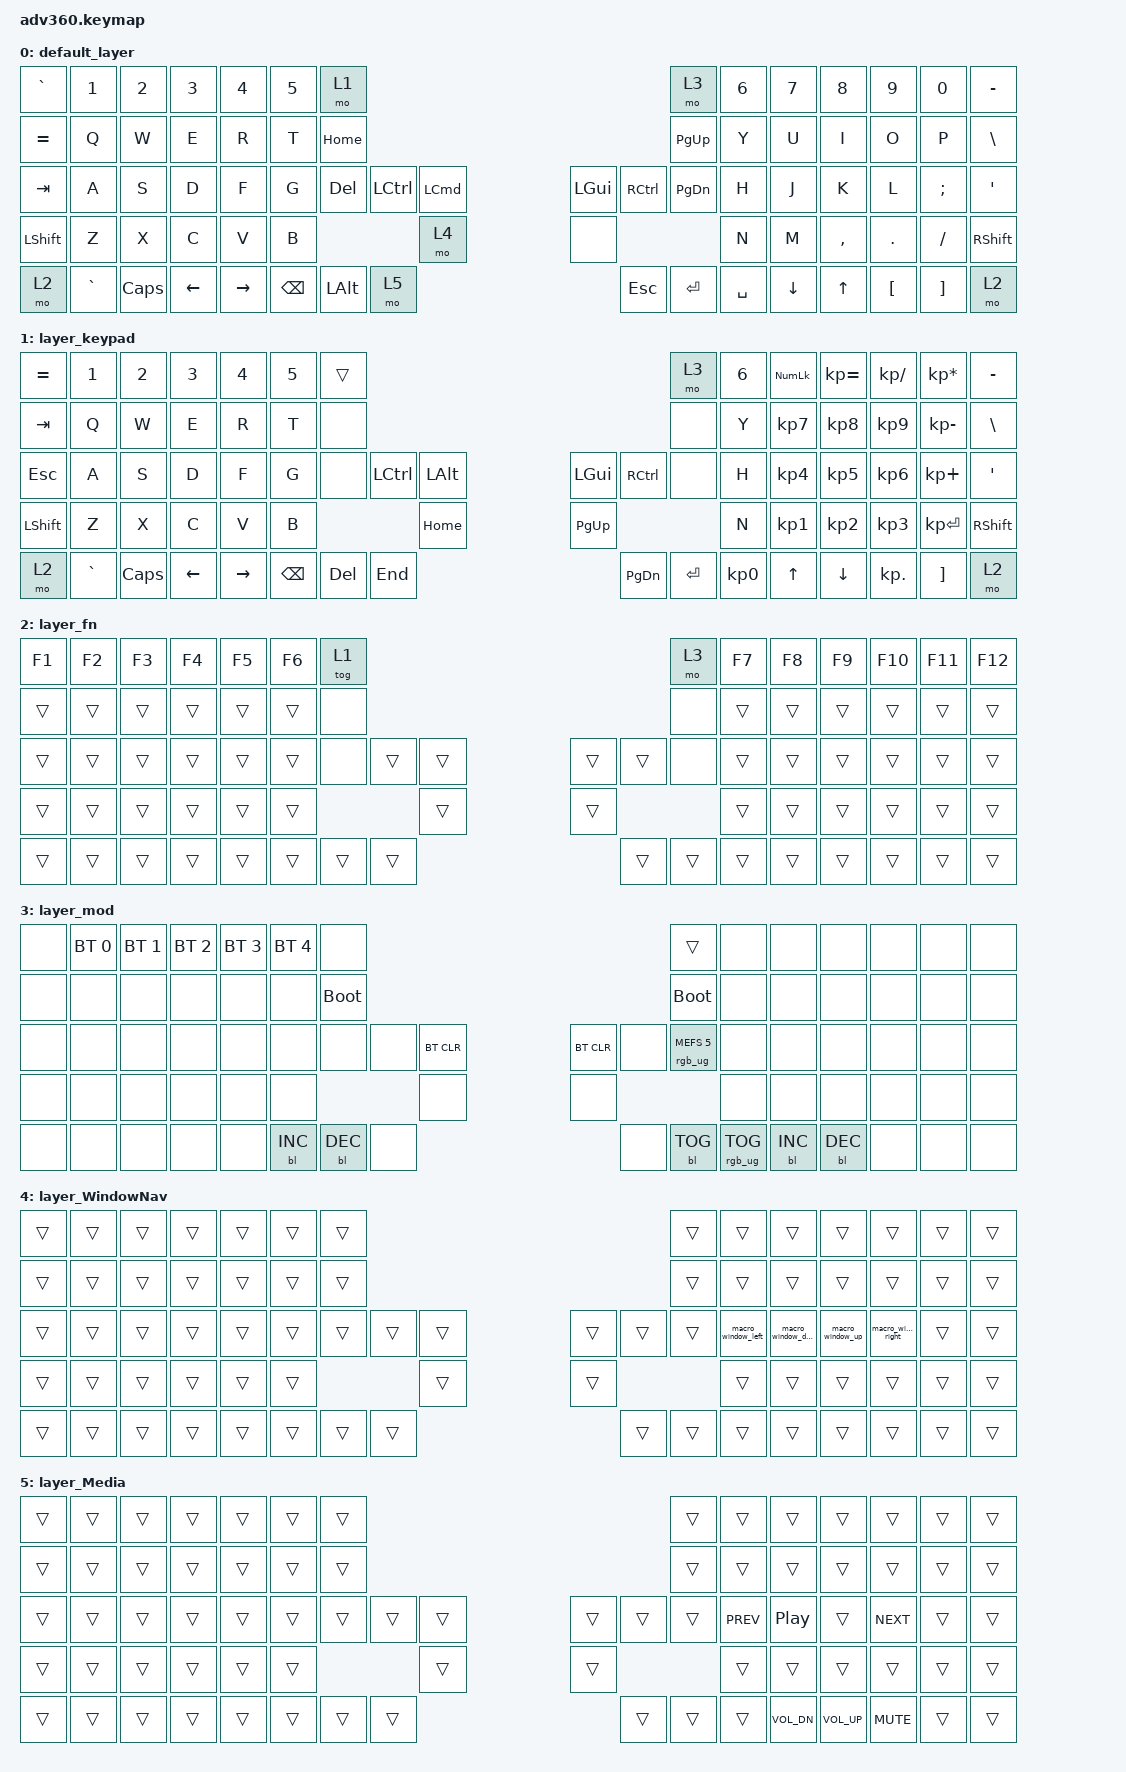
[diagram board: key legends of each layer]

/*
 * Copyright (c) 2020 The ZMK Contributors
 *
 * SPDX-License-Identifier: MIT
 */


/* THIS FILE WAS GENERATED!
 *
 * This file was generated automatically. You may or may not want to
 * edit it directly.
 */

#include <behaviors.dtsi>
#include <dt-bindings/zmk/keys.h>
#include <dt-bindings/zmk/bt.h>
#include <dt-bindings/zmk/rgb.h>
#include <dt-bindings/zmk/backlight.h>

/ {
  behaviors {
    #include "macros.dtsi"
    #include "version.dtsi"

    hm: homerow_mods {
        compatible = "zmk,behavior-hold-tap";
        label = "HOMEROW_MODS";
        #binding-cells = <2>;
        tapping-term-ms = <200>;
        quick_tap_ms = <175>;
        flavor = "tap-preferred";
        bindings = <&kp>, <&kp>;
    };
  };

    keymap {
        compatible = "zmk,keymap";


        default_layer {
            bindings = <
 &kp GRAVE     &kp N1        &kp N2    &kp N3     &kp N4  &kp N5               &mo 1                                                                           &mo 3  &kp N6    &kp N7     &kp N8    &kp N9    &kp N0  &kp MINUS
 &kp EQUAL      &kp Q         &kp W     &kp E      &kp R   &kp T            &kp HOME                                                                       &kp PG_UP   &kp Y     &kp U      &kp I     &kp O     &kp P   &kp BSLH
   &kp TAB      &kp A         &kp S     &kp D      &kp F   &kp G             &kp DEL     &kp LCTRL  &kp LEFT_COMMAND                  &kp LGUI  &kp RCTRL  &kp PG_DN   &kp H     &kp J      &kp K     &kp L  &kp SEMI    &kp SQT
 &kp LSHFT      &kp Z         &kp X     &kp C      &kp V   &kp B                                               &mo 4                     &none                         &kp N     &kp M  &kp COMMA   &kp DOT  &kp FSLH  &kp RSHFT
     &mo 2  &kp GRAVE  &kp CAPSLOCK  &kp LEFT  &kp RIGHT                    &kp BSPC  &kp LEFT_ALT             &mo 5                   &kp ESC  &kp ENTER  &kp SPACE          &kp DOWN     &kp UP  &kp LBKT  &kp RBKT      &mo 2
            >;
        };

        layer_keypad {
            bindings = <
 &kp EQUAL     &kp N1    &kp N2    &kp N3     &kp N4  &kp N5              &trans                                                                 &mo 3  &kp N6  &kp KP_NUMLOCK  &kp KP_EQUAL  &kp KP_DIVIDE  &kp KP_MULTIPLY  &kp MINUS
   &kp TAB      &kp Q     &kp W     &kp E      &kp R   &kp T               &none                                                                 &none   &kp Y       &kp KP_N7     &kp KP_N8      &kp KP_N9     &kp KP_MINUS   &kp BSLH
   &kp ESC      &kp A     &kp S     &kp D      &kp F   &kp G               &none  &kp LCTRL  &kp LALT                   &kp LGUI  &kp RCTRL      &none   &kp H       &kp KP_N4     &kp KP_N5      &kp KP_N6      &kp KP_PLUS    &kp SQT
 &kp LSHFT      &kp Z     &kp X     &kp C      &kp V   &kp B                                 &kp HOME                  &kp PG_UP                         &kp N       &kp KP_N1     &kp KP_N2      &kp KP_N3     &kp KP_ENTER  &kp RSHFT
     &mo 2  &kp GRAVE  &kp CAPS  &kp LEFT  &kp RIGHT                    &kp BSPC    &kp DEL   &kp END                  &kp PG_DN  &kp ENTER  &kp KP_N0                  &kp UP      &kp DOWN     &kp KP_DOT         &kp RBKT      &mo 2
            >;
        };

        layer_fn {
            bindings = <
 &kp F1  &kp F2  &kp F3  &kp F4  &kp F5  &kp F6            &tog 1                                                   &mo 3  &kp F7  &kp F8  &kp F9  &kp F10  &kp F11  &kp F12
 &trans  &trans  &trans  &trans  &trans  &trans             &none                                                   &none  &trans  &trans  &trans   &trans   &trans   &trans
 &trans  &trans  &trans  &trans  &trans  &trans             &none  &trans  &trans                  &trans  &trans   &none  &trans  &trans  &trans   &trans   &trans   &trans
 &trans  &trans  &trans  &trans  &trans  &trans                            &trans                  &trans                  &trans  &trans  &trans   &trans   &trans   &trans
 &trans  &trans  &trans  &trans  &trans                    &trans  &trans  &trans                  &trans  &trans  &trans          &trans  &trans   &trans   &trans   &trans
            >;
        };

        layer_mod {
            bindings = <
  &none  &bt BT_SEL 0  &bt BT_SEL 1  &bt BT_SEL 2  &bt BT_SEL 3  &bt BT_SEL 4                  &none                                                                                  &trans   &none       &none       &none   &none   &none   &none
  &none         &none         &none         &none         &none         &none            &bootloader                                                                             &bootloader   &none       &none       &none   &none   &none   &none
  &none         &none         &none         &none         &none         &none                  &none       &none  &bt BT_CLR                  &bt BT_CLR       &none  &rgb_ug RGB_MEFS_CMD 5   &none       &none       &none   &none   &none   &none
  &none         &none         &none         &none         &none         &none                                          &none                       &none                                       &none       &none       &none   &none   &none   &none
  &none         &none         &none         &none         &none                           &bl BL_INC  &bl BL_DEC       &none                       &none  &bl BL_TOG         &rgb_ug RGB_TOG          &bl BL_INC  &bl BL_DEC   &none   &none   &none
            >;
        };

        layer_WindowNav {
            bindings = <
 &trans  &trans  &trans  &trans  &trans  &trans            &trans                                                  &trans              &trans              &trans            &trans               &trans  &trans  &trans
 &trans  &trans  &trans  &trans  &trans  &trans            &trans                                                  &trans              &trans              &trans            &trans               &trans  &trans  &trans
 &trans  &trans  &trans  &trans  &trans  &trans            &trans  &trans  &trans                  &trans  &trans  &trans  &macro_window_left  &macro_window_down  &macro_window_up  &macro_window_right  &trans  &trans
 &trans  &trans  &trans  &trans  &trans  &trans                            &trans                  &trans                              &trans              &trans            &trans               &trans  &trans  &trans
 &trans  &trans  &trans  &trans  &trans                    &trans  &trans  &trans                  &trans  &trans  &trans                                  &trans            &trans               &trans  &trans  &trans
            >;
        };

        layer_Media {
            bindings = <
 &trans  &trans  &trans  &trans  &trans  &trans            &trans                                                  &trans      &trans        &trans        &trans      &trans  &trans  &trans
 &trans  &trans  &trans  &trans  &trans  &trans            &trans                                                  &trans      &trans        &trans        &trans      &trans  &trans  &trans
 &trans  &trans  &trans  &trans  &trans  &trans            &trans  &trans  &trans                  &trans  &trans  &trans  &kp C_PREV      &kp C_PP        &trans  &kp C_NEXT  &trans  &trans
 &trans  &trans  &trans  &trans  &trans  &trans                            &trans                  &trans                      &trans        &trans        &trans      &trans  &trans  &trans
 &trans  &trans  &trans  &trans  &trans                    &trans  &trans  &trans                  &trans  &trans  &trans              &kp C_VOL_DN  &kp C_VOL_UP  &kp C_MUTE  &trans  &trans
            >;
        };

    };
};
